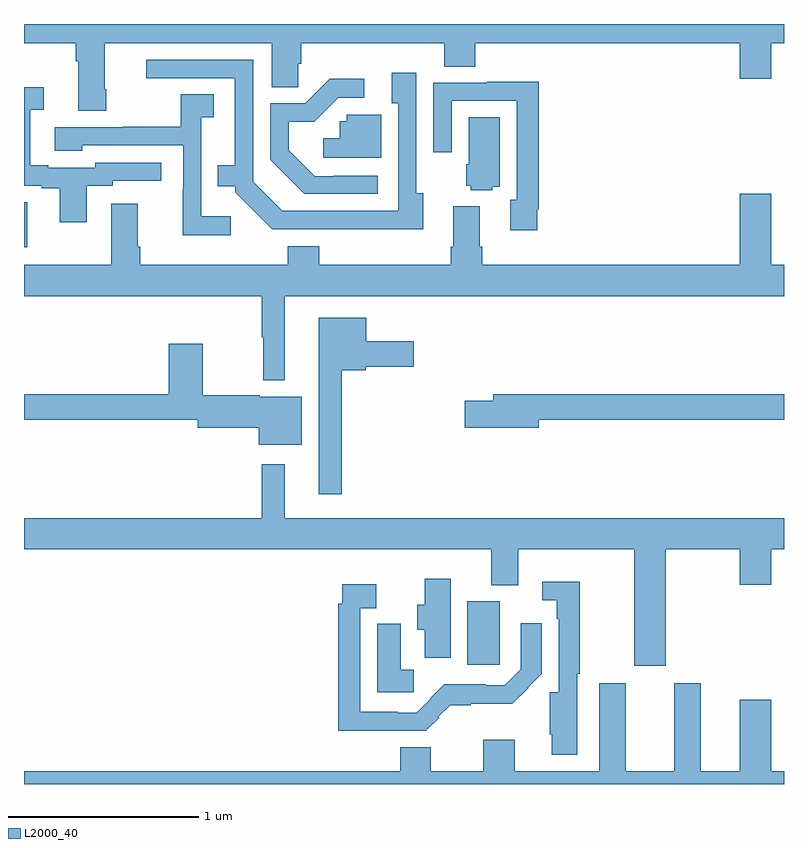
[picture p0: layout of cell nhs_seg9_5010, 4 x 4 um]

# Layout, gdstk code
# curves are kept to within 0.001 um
import gdstk
lib = gdstk.Library(unit=1e-6, precision=1e-09)
def R(c, l, rs):  # rectangles x0, y0, x1, y1
    for r in rs: c.add(gdstk.rectangle(r[:2], r[2:], *l))
def P(c, l, *ps):  # polygons
    for p in ps: c.add(gdstk.Polygon(p, *l))
L2000_40 = (2000, 40)

nhs_seg9_5010 = lib.new_cell('nhs_seg9_5010')
R(nhs_seg9_5010, L2000_40, [(403.334,1213.128,403.504,1213.462), (401,1215.324,401.017,1215.563)])
P(nhs_seg9_5010, L2000_40, [(401.433,1216.156),(401.425,1216.156),(401.425,1216.4),(402.305,1216.4),(402.305,1216.168),(402.443,1216.168),(402.443,1216.29),(402.458,1216.29),(402.458,1216.4),(403.211,1216.4),(403.211,1216.276),(403.376,1216.276),(403.376,1216.4),(404.768,1216.4),(404.768,1216.212),(404.932,1216.212),(404.932,1216.4),(405,1216.4),(405,1216.5),(401,1216.5),(401,1216.4),(401.273,1216.4),(401.273,1216.304),(401.285,1216.304),(401.285,1216.044),(401.433,1216.044)],
  [(403.102,1215.61),(403.065,1215.61),(403.065,1216.243),(402.935,1216.243),(402.935,1216.082),(402.969,1216.082),(402.969,1215.516),(402.36,1215.516),(402.207,1215.669),(402.207,1216.311),(401.643,1216.311),(401.643,1216.215),(402.11,1216.215),(402.11,1215.757),(402.019,1215.757),(402.019,1215.647),(402.111,1215.647),(402.111,1215.615),(402.306,1215.42),(403.102,1215.419)],
  [(402.862,1215.702),(402.631,1215.702),(402.631,1215.699),(402.531,1215.699),(402.394,1215.836),(402.394,1215.986),(402.527,1215.986),(402.654,1216.113),(402.79,1216.113),(402.79,1216.211),(402.608,1216.211),(402.48,1216.083),(402.297,1216.083),(402.297,1215.785),(402.476,1215.606),(402.862,1215.606)],
  [(403.702,1215.526),(403.709,1215.526),(403.709,1216.195),(403.439,1216.195),(403.439,1216.191),(403.155,1216.191),(403.155,1215.825),(403.251,1215.825),(403.251,1216.095),(403.593,1216.095),(403.593,1215.575),(403.559,1215.575),(403.559,1215.414),(403.702,1215.414)],
  [(401.329,1215.648),(401.466,1215.648),(401.466,1215.675),(401.722,1215.675),(401.722,1215.771),(401.376,1215.771),(401.376,1215.744),(401.128,1215.744),(401.128,1215.757),(401.032,1215.757),(401.032,1216.048),(401.104,1216.048),(401.104,1216.168),(401,1216.168),(401,1215.648),(401.093,1215.648),(401.093,1215.636),(401.189,1215.636),(401.189,1215.456),(401.329,1215.456)],
  [(402.088,1215.487),(401.934,1215.487),(401.934,1216.009),(401.998,1216.009),(401.998,1216.13),(401.826,1216.13),(401.826,1215.96),(401.521,1215.96),(401.521,1215.957),(401.163,1215.957),(401.163,1215.833),(401.307,1215.833),(401.307,1215.861),(401.838,1215.861),(401.838,1215.629),(401.836,1215.629),(401.836,1215.389),(402.088,1215.389)],
  [(402.88,1216.023),(402.699,1216.023),(402.699,1215.987),(402.663,1215.987),(402.663,1215.898),(402.576,1215.898),(402.576,1215.795),(402.88,1215.795)],
  [(403.464,1215.644),(403.504,1215.644),(403.504,1216.01),(403.34,1216.01),(403.34,1215.762),(403.328,1215.762),(403.328,1215.648),(403.35,1215.648),(403.35,1215.626),(403.464,1215.626)],
  [(402.373,1215.068),(405,1215.068),(405,1215.232),(404.932,1215.232),(404.932,1215.607),(404.768,1215.607),(404.768,1215.232),(403.412,1215.232),(403.412,1215.328),(403.399,1215.328),(403.399,1215.541),(403.259,1215.541),(403.259,1215.328),(403.247,1215.328),(403.247,1215.232),(402.554,1215.232),(402.554,1215.331),(402.389,1215.331),(402.389,1215.232),(401.612,1215.232),(401.612,1215.328),(401.599,1215.328),(401.599,1215.553),(401.459,1215.553),(401.459,1215.232),(401,1215.232),(401,1215.068),(402.252,1215.068),(402.252,1214.852),(402.259,1214.852),(402.259,1214.624),(402.373,1214.624)],
  [(402.673,1214.678),(402.798,1214.678),(402.798,1214.696),(403.051,1214.696),(403.051,1214.83),(402.802,1214.83),(402.802,1214.953),(402.551,1214.953),(402.551,1214.025),(402.673,1214.025)],
  [(402.463,1214.539),(402.24,1214.539),(402.24,1214.545),(401.94,1214.545),(401.94,1214.818),(401.762,1214.818),(401.762,1214.552),(401,1214.552),(401,1214.416),(401.915,1214.416),(401.915,1214.374),(402.236,1214.374),(402.236,1214.285),(402.463,1214.285)],
  [(403.708,1214.416),(405,1214.416),(405,1214.552),(403.469,1214.552),(403.469,1214.516),(403.32,1214.516),(403.32,1214.374),(403.708,1214.374)],
  [(404.377,1213.736),(404.768,1213.736),(404.768,1213.548),(404.932,1213.548),(404.932,1213.736),(405,1213.736),(405,1213.9),(402.373,1213.9),(402.373,1214.182),(402.252,1214.182),(402.252,1213.9),(401,1213.9),(401,1213.736),(403.46,1213.736),(403.46,1213.547),(403.6,1213.547),(403.6,1213.736),(404.213,1213.736),(404.213,1213.122),(404.377,1213.122)],
  [(403.246,1213.579),(403.109,1213.579),(403.109,1213.443),(403.07,1213.443),(403.07,1213.313),(403.109,1213.313),(403.109,1213.164),(403.246,1213.164)],
  [(403.912,1213.081),(403.924,1213.081),(403.924,1213.564),(403.728,1213.564),(403.728,1213.467),(403.803,1213.467),(403.803,1213.37),(403.815,1213.37),(403.815,1212.984),(403.766,1212.984),(403.766,1212.763),(403.778,1212.763),(403.778,1212.653),(403.912,1212.653)],
  [(403.185,1212.849),(403.181,1212.853),(403.243,1212.915),(403.351,1212.915),(403.351,1212.923),(403.571,1212.923),(403.726,1213.08),(403.726,1213.345),(403.614,1213.345),(403.614,1213.104),(403.53,1213.02),(403.43,1213.02),(403.43,1213.025),(403.211,1213.025),(403.137,1212.951),(403.14,1212.948),(403.068,1212.876),(402.968,1212.876),(402.968,1212.88),(402.771,1212.88),(402.771,1213.424),(402.854,1213.424),(402.854,1213.552),(402.675,1213.552),(402.675,1213.448),(402.655,1213.448),(402.655,1212.779),(403.115,1212.779)],
  [(403.051,1213.102),(402.982,1213.102),(402.982,1213.343),(402.86,1213.343),(402.86,1212.982),(403.051,1212.982)],
  [(405,1212.568),(404.932,1212.568),(404.932,1212.943),(404.768,1212.943),(404.768,1212.568),(404.563,1212.568),(404.563,1213.03),(404.423,1213.03),(404.423,1212.568),(404.167,1212.568),(404.167,1213.03),(404.027,1213.03),(404.027,1212.568),(403.582,1212.568),(403.582,1212.733),(403.418,1212.733),(403.418,1212.568),(403.141,1212.568),(403.141,1212.694),(402.98,1212.694),(402.98,1212.568),(401,1212.568),(401,1212.5),(405,1212.5)])

lib.write_gds('nhs_seg9_5010.gds')
